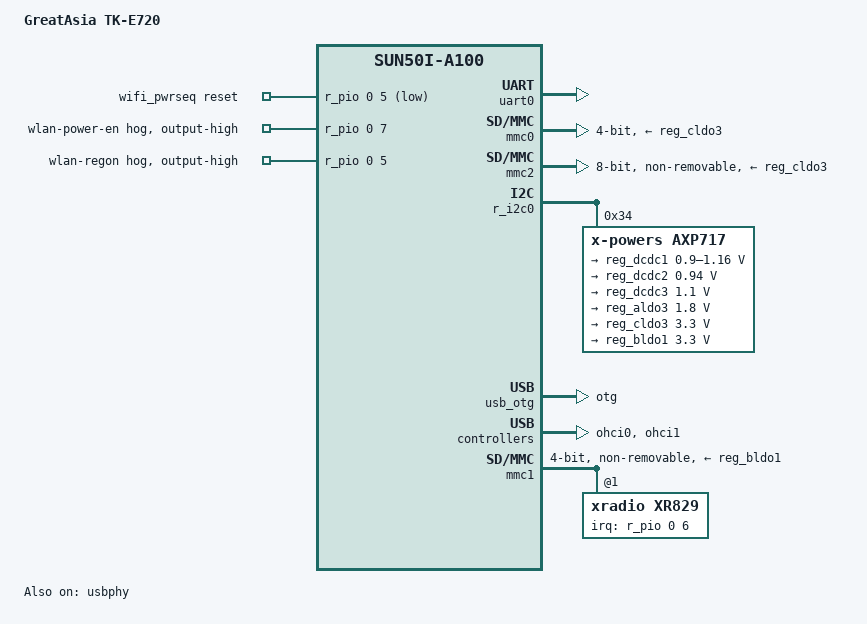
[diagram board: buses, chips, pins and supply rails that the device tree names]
// SPDX-License-Identifier: (GPL-2.0+ OR MIT)
/*
 * Phase-1 (console-only) device tree for GreatAsia TK-E720.
 * Allwinner A133 (sun50i-a100 compatible) + AXP717/AXP2202 PMIC.
 * UART + MMC + USB + PMIC only. NO display yet (phase 2 adds panel/TCON/DE2).
 *
 * AXP717 regulator rails are educated guesses pending vendor-DTB extraction.
 * All rails carrying always-on MUST stay always-on or the kernel hangs when it
 * disables "unused" regulators during late init.
 */

/dts-v1/;

#include "sun50i-a100.dtsi"
#include "sun50i-a100-cpu-opp.dtsi"

#include <dt-bindings/gpio/gpio.h>
#include <dt-bindings/interrupt-controller/irq.h>

/ {
	model = "GreatAsia TK-E720";
	compatible = "greatasia,tk-e720", "allwinner,sun50i-a100";

	aliases {
		serial0 = &uart0;
		mmc0 = &mmc0;
		mmc2 = &mmc2;
	};

	chosen {
		stdout-path = "serial0:115200n8";
	};

	/*
	 * Vendor secure-world memory map (from vendor.dts reserved-memory):
	 *   bl31          @ 0x48000000, size 0x1000000 (16 MiB)  ← BL31 + OP-TEE
	 *   reboot_escrow @ 0x50000000, size 0x10000   (64 KiB, no-map, pmem)
	 *
	 * ROOT CAUSE of session-long instability (Oracle-confirmed): earlier this
	 * node reserved ONLY 2 MiB @ 0x40000000 — WRONG address AND size. Vendor
	 * BL31 (+ resident OP-TEE, linaro,optee-tz) actually lives at 0x48000000
	 * (16 MiB), 128 MiB into DRAM. The 0x40000000 reservation protected some
	 * small thing at DRAM base (SCP/ARISC trampoline or CPU spin-table — it DID
	 * fix an earlier SMP IPI panic, so KEEP it) but left the real 16 MiB secure
	 * region unprotected. Under heavy allocation (dd 200MB, vim, apk) the buddy
	 * allocator reached 0x48000000 → pages landed in live BL31/OP-TEE memory →
	 * mutual corruption → free_page_and_swap_cache NULL-deref on secondary CPU,
	 * random userspace SEGV/illegal-instruction, intermittent __secondary_switched
	 * boot panics, transient oopses. All ONE root cause.
	 * Vendor didn't mark bl31 no-map, but mainline REQUIRES no-map here.
	 */
	reserved-memory {
		#address-cells = <2>;
		#size-cells = <2>;
		ranges;

		/* Small carveout at DRAM base — fixed earlier SMP IPI panic. KEEP. */
		secmon@40000000 {
			reg = <0x0 0x40000000 0x0 0x200000>;
			no-map;
		};

		/* Vendor BL31 (Trusted Firmware-A) + resident OP-TEE secure world.
		 * OP-TEE TZASC-protects a CONTIGUOUS region at 0x48000000, LARGER than
		 * the vendor-DT-declared 16 MiB. Confirmed contiguous (top-of-DRAM
		 * reserved cluster is CMA @0xbba00000, not OP-TEE). Empirical: 16 MiB →
		 * light apk works, heavy segfaults; 32 MiB → mc OK, build-base SEGV;
		 * 128 MiB (0x48000000-0x4fffffff) → build-base passes. Reservable since
		 * initrd dropped + dtb moved to 0x50100000. Stops at reboot_escrow
		 * @0x50000000. Losing 128 MiB of 2 GiB is trivial for dev. */
		bl31@48000000 {
			reg = <0x0 0x48000000 0x0 0x8000000>;   /* 128 MiB (0x48000000-0x4fffffff) — size that passed build-base */
			no-map;
		};

		/* reboot escrow / pmem region (vendor uses for reboot handoff) */
		reboot_escrow@50000000 {
			reg = <0x0 0x50000000 0x0 0x10000>;
			no-map;
		};
	};
};

&cpu0 {
	cpu-supply = <&reg_dcdc1>;
};

&uart0 {
	pinctrl-names = "default";
	pinctrl-0 = <&uart0_pb_pins>;
	status = "okay";
};

/* SD card (SMHC0) */
&mmc0 {
	pinctrl-names = "default";
	pinctrl-0 = <&mmc0_pins>;
	vmmc-supply = <&reg_cldo3>;
	/* cd-gpios PF6 unverified/glitchy — poll instead; card is the rootfs, always present */
	broken-cd;
	bus-width = <4>;
	status = "okay";
};

/* eMMC (SMHC2) */
&mmc2 {
	vmmc-supply = <&reg_cldo3>;
	vqmmc-supply = <&reg_aldo3>;
	cap-mmc-hw-reset;
	non-removable;
	bus-width = <8>;
	mmc-ddr-1_8v;
	mmc-hs200-1_8v;
	status = "okay";
};

&pio {
	vcc-pb-supply = <&reg_cldo3>;
	vcc-pc-supply = <&reg_aldo3>;
	vcc-pf-supply = <&reg_cldo3>;
	vcc-pg-supply = <&reg_cldo3>;
	vcc-ph-supply = <&reg_cldo3>;
};

/* AXP717 (= AXP2202) on R_I2C0 @ 0x34.
 * Voltage ranges are chip-fixed: DCDC1/3 max 1.54V, DCDC2 max ~3.4V,
 * (A/B/C)LDO 0.5–3.5V. DCDC1 CANNOT do 3.3V — 3.3V I/O comes from a CLDO.
 * Rail→function mirrors the Anbernic RG35XX (same PMIC); verify against the
 * vendor DTB (extract from eMMC boot_a) before trusting for production.
 */
&r_i2c0 {
	status = "okay";

	axp717: pmic@34 {
		compatible = "x-powers,axp717";
		reg = <0x34>;
		interrupt-parent = <&r_intc>;
		interrupts = <0 IRQ_TYPE_LEVEL_LOW>;
		#interrupt-cells = <1>;
		interrupt-controller;

		regulators {
			reg_dcdc1: dcdc1 {
				regulator-name = "vdd-cpu";
				regulator-min-microvolt = <900000>;
				regulator-max-microvolt = <1160000>;
				regulator-always-on;
			};

			reg_dcdc2: dcdc2 {
				regulator-name = "vdd-gpu-sys";
				regulator-min-microvolt = <940000>;
				regulator-max-microvolt = <940000>;
				regulator-always-on;
			};

			reg_dcdc3: dcdc3 {
				regulator-name = "vdd-dram";
				regulator-min-microvolt = <1100000>;
				regulator-max-microvolt = <1100000>;
				regulator-always-on;
			};

			reg_aldo3: aldo3 {
				regulator-name = "vcc-1v8";
				regulator-min-microvolt = <1800000>;
				regulator-max-microvolt = <1800000>;
				regulator-always-on;
			};

			reg_cldo3: cldo3 {
				regulator-name = "vcc-io";
				regulator-min-microvolt = <3300000>;
				regulator-max-microvolt = <3300000>;
				regulator-always-on;
			};

			/* WiFi (XR829) VDD + BT rail. MUST be always-on: the vendor
			 * bring-up order is VDD -> power_en -> regon, but power_en
			 * (PL7) is driven HIGH from boot by the gpio-hog below. If
			 * this rail is left to the mmc core (enabled only during a
			 * card-init attempt, else dropped by "disable unused
			 * regulators"), the chip sits with enable-high + VDD-off and
			 * never answers CMD5. always-on keeps VDD up before power_en.
			 * PG pads are powered separately by cldo3 (vcc-io). */
			reg_bldo1: bldo1 {
				regulator-name = "vcc-wifi-io";
				regulator-min-microvolt = <3300000>;
				regulator-max-microvolt = <3300000>;
				regulator-always-on;
			};
		};
	};
};

&usb_otg {
	dr_mode = "otg";
	status = "okay";
};

&usbphy {
	status = "okay";
};

/*
 * Two physical USB-A host ports. On A100 these are EHCI2.0 + OHCI1.1 companion
 * controllers, NOT musb. PHY0 (usbphy port 0) is shared with usb_otg/musb;
 * PHY1 (port 1) is host-only.
 *
 * STOPGAP (DEFERRED, NOT abandoned): EHCI (USB2.0 High-Speed, 480Mbps) is
 * DISABLED because HS transfers corrupt kernel memory (bad HS PHY eye — vendor
 * PHY tuning didn't fix; likely missing USB clock/PLL/LDO setup or EHCI
 * descriptor-coherency issue, under investigation). OHCI (Full-Speed, 12Mbps)
 * is STABLE, so we run USB at full-speed only: usable for ssh/git/apk, just
 * slow. RE-ENABLE ehci0/ehci1 once the HS bug is fixed (see board-notes USB
 * PHY/EHCI section). The PHY HS-tuning patch in phy-sun4i-usb.c stays in place.
 */
&ehci0 {
	status = "disabled";	/* HS corrupts — stopgap, re-enable after HS fix */
};

&ohci0 {
	status = "okay";
};

&ehci1 {
	status = "disabled";	/* HS corrupts — stopgap, re-enable after HS fix */
};

&ohci1 {
	status = "okay";
};

/*
 * ===========================================================================
 * Onboard WiFi + BT = XRadio XR829 (SDIO WiFi @ mmc1, BT @ UART1)
 * ===========================================================================
 * Driver: github.com/YuzukiHD/Xradio-XR829 (CONFIG_XR829_WLAN=m; SDIO ID
 * 0x0A9E:0x2282). Firmware: fw_xr829.bin/sdd_xr829.bin/boot_xr829.bin (extracted).
 *
 * MAINLINE approach (NOT vendor sunxi-rfkill — that driver isn't upstream):
 * power/enable via mmc-pwrseq-simple (asserts wlan_regon PL5 + power_en PL7,
 * then releases). SDIO card enumerates on mmc1; the xr829 SDIO driver binds by
 * ID and loads firmware. Host-wake OOB IRQ on PL6 via r_pio.
 * ⚠ DRIVER CAVEAT: YuzukiHD wlan/platform.c calls sunxi_wlan_set_power() (vendor
 * symbol, absent here). Either (a) patch platform.c to drop those externs and
 * rely on mmc-pwrseq (chip is already powered when the SDIO driver probes), or
 * (b) build with the sunxi-wlan shim. DT below is the mainline (mmc-pwrseq) form.
 *
 * Wiring (verified vendor.dts): SDIO mmc1; wlan_regon=PL5, wlan_hostwake=PL6,
 * power_en=PL7, power=bldo1 3.3V. PL bank = &r_pio (bank 0). BT: UART1, later.
 */

/ {
	wifi_pwrseq: wifi-pwrseq {
		compatible = "mmc-pwrseq-simple";
		/* Only wlan_regon (PL5) is pulsed by pwrseq; power_en (PL7) is held
		 * enabled from boot via a gpio-hog on &r_pio, so power precedes
		 * regon (the vendor rfkill/wlan drivers sequenced power_en->regon,
		 * which mmc-pwrseq-simple can't do when both share reset-gpios).
		 * ACTIVE_LOW => pwrseq release drives regon HIGH = radio enabled. */
		reset-gpios = <&r_pio 0 5 GPIO_ACTIVE_LOW>;
		post-power-on-delay-ms = <1000>;
		power-off-delay-us = <200>;
	};
};

&r_pio {
	wlan_power_en_hog {
		gpio-hog;
		gpios = <0 7 GPIO_ACTIVE_HIGH>;	/* PL7 = power_en */
		output-high;
		line-name = "wlan-power-en";
	};

	wlan_regon_hog {
		gpio-hog;
		gpios = <0 5 GPIO_ACTIVE_HIGH>;	/* PL5 = wlan_regon */
		output-high;
		line-name = "wlan-regon";
	};
};

/* SDIO host for XR829 WiFi */
&mmc1 {
	pinctrl-names = "default";
	pinctrl-0 = <&mmc1_pins>;
	vmmc-supply = <&reg_bldo1>;
	bus-width = <4>;
	non-removable;
	cap-sdio-irq;
	keep-power-in-suspend;
	max-frequency = <50000000>;
	no-sd;
	no-mmc;
	#address-cells = <1>;
	#size-cells = <0>;
	status = "okay";

	xr829: wifi@1 {
		reg = <1>;
		compatible = "xradio,xr829";
		interrupt-parent = <&r_pio>;
		interrupts = <0 6 IRQ_TYPE_LEVEL_HIGH>;	/* PL6 host-wake */
		interrupt-names = "host-wake";
	};
};
